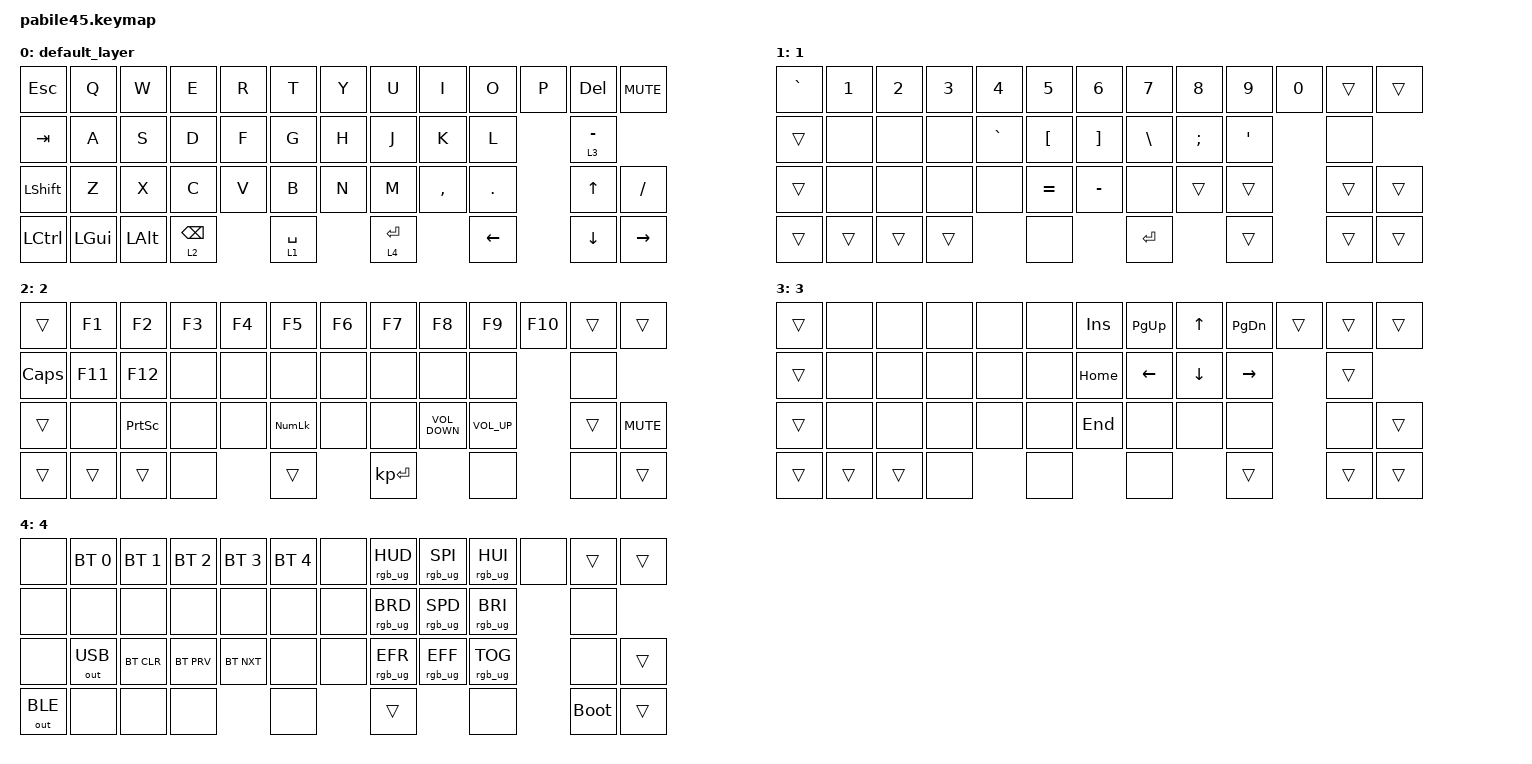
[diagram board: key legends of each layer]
/*
 * Copyright (c) 2023 The ZMK Contributors
 *
 * SPDX-License-Identifier: MIT
 */

#include <behaviors.dtsi>
#include <dt-bindings/zmk/keys.h>
#include <dt-bindings/zmk/bt.h>
#include <dt-bindings/zmk/outputs.h>
#include <dt-bindings/zmk/rgb.h>

&led_strip {
    chain-length = <10>;
};

/ {
	keymap {
		compatible = "zmk,keymap";

		default_layer {
			bindings = <
				&kp ESC   &kp Q     &kp W     &kp E      &kp R      &kp T       &kp Y       &kp U        &kp I     &kp O    &kp P  &kp DEL      &kp C_MUTE
				&kp TAB   &kp A     &kp S     &kp D      &kp F      &kp G       &kp H       &kp J        &kp K     &kp L           &lt 3 MINUS
				&kp LSHFT &kp Z     &kp X     &kp C      &kp V      &kp B       &kp N       &kp M        &kp COMMA &kp DOT         &kp UP       &kp FSLH
				&kp LCTRL &kp LGUI  &kp LALT  &lt 2 BSPC            &lt 1 SPACE             &lt 4 ENTER            &kp LEFT        &kp DOWN     &kp RIGHT
			>;
		};
		1 {
			bindings = <
				&kp GRAVE &kp N1    &kp N2    &kp N3     &kp N4     &kp N5      &kp N6      &kp N7       &kp N8    &kp N9   &kp N0 &trans    &trans
				&trans    &none     &none     &none      &kp GRAVE  &kp LBKT    &kp RBKT    &kp BSLH     &kp SEMI  &kp SQT         &none             
				&trans    &none     &none     &none      &none      &kp EQUAL   &kp MINUS   &none        &trans    &trans          &trans    &trans
				&trans    &trans    &trans    &trans                &none                   &kp ENTER    &trans    &trans                    &trans
			>;
		};
		2 {
			bindings = <
				&trans   &kp F1     &kp F2    &kp F3     &kp F4     &kp F5         &kp F6   &kp F7       &kp F8            &kp F9          &kp F10 &trans &trans
				&kp CAPS &kp F11    &kp F12   &none      &none      &none          &none    &none        &none             &none           &none 
				&trans   &none      &kp PSCRN &none      &none      &kp KP_NUMLOCK &none    &none        &kp C_VOLUME_DOWN &kp C_VOLUME_UP &trans  &kp C_MUTE
				&trans   &trans     &trans    &none                 &trans                  &kp KP_ENTER &none             &none                   &trans
			>;
		};
		3 {
			bindings = <
				&trans   &none      &none     &none      &none      &none      &kp INS      &kp PAGE_UP  &kp UP       &kp PAGE_DOWN     &trans  &trans &trans
				&trans   &none      &none     &none      &none      &none      &kp HOME     &kp LEFT     &kp DOWN     &kp RIGHT         &trans
				&trans   &none      &none     &none      &none      &none      &kp END      &none        &none        &none             &none           &trans
				&trans   &trans     &trans    &none                 &none                   &none        &trans       &trans                            &trans
			>;
		};
		4 {
			bindings = <
				&none         &bt BT_SEL 0  &bt BT_SEL 1 &bt BT_SEL 2 &bt BT_SEL 3 &bt BT_SEL 4    &none    &rgb_ug RGB_HUD &rgb_ug RGB_SPI  &rgb_ug RGB_HUI  &none   &trans &trans
				&none         &none        &none       &none       &none      &none    &none    &rgb_ug RGB_BRD &rgb_ug RGB_SPD  &rgb_ug RGB_BRI  &none
				&none         &out OUT_USB &bt BT_CLR  &bt BT_PRV  &bt BT_NXT &none    &none    &rgb_ug RGB_EFR &rgb_ug RGB_EFF  &rgb_ug RGB_TOG  &none          &trans
				&out OUT_BLE  &none        &none       &none                  &none             &trans           &none                            &bootloader    &trans
			>;
		};
	};
};

